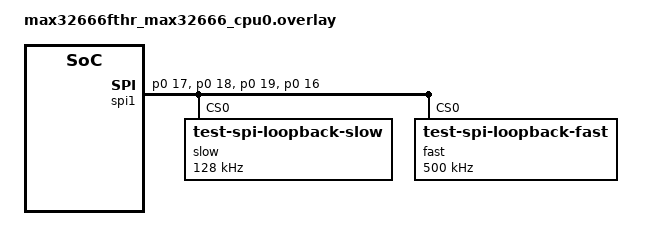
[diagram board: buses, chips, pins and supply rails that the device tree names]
/*
 * Copyright (c) 2023-2024 Analog Devices, Inc.
 *
 * SPDX-License-Identifier: Apache-2.0
 */

&spi1 {
	status = "okay";
	pinctrl-0 = <&spi1_mosi_p0_17 &spi1_miso_p0_18 &spi1_sck_p0_19 &spi1_ss0_p0_16>;
	pinctrl-names = "default";

	slow@0 {
		compatible = "test-spi-loopback-slow";
		reg = <0>;
		spi-max-frequency = <128000>;
	};
	fast@0 {
		compatible = "test-spi-loopback-fast";
		reg = <0>;
		spi-max-frequency = <500000>;
	};
};
